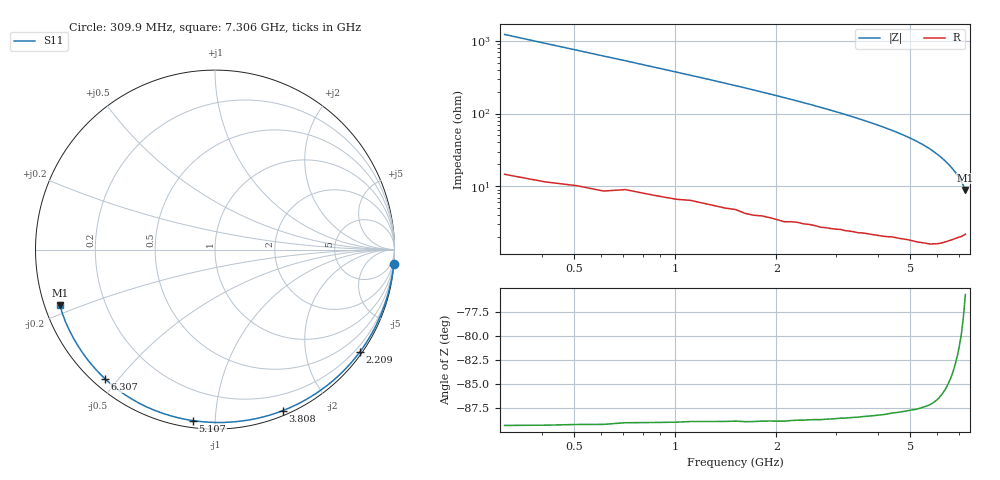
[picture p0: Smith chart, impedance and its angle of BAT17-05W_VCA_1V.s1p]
! Infineon Technologies  Discrete & RF Semiconductors
! BAT17-05W
! VCA = 1 V
! One-Port S-Parameters
# Hz  S  MA  R  50
!f  S11
!Hz  Mag  Ang
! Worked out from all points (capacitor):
!   71 points, 309.9 MHz to 7.306 GHz, reference 50 ohm
!   read as one part to ground: C = 422 fF near 309.9 MHz
!   lowest |Z| = 8.92 ohm at 7.306 GHz (marker M1)
!   S11 on the Smith chart (normalised r, x): 309.9 MHz: 0, -24; 2.209 GHz: 0.07, -3.13; 3.808 GHz: 0.04, -1.50; 5.107 GHz: 0.04, -0.88; 6.307 GHz: 0.03, -0.46; 7.306 GHz: 0.04, -0.17
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3.0985e8  0.999 -4.7
7.0965e8  0.9968 -10.8
1.2094e9  0.994 -18.5
1.4093e9  0.9929 -21.7
1.70915e9  0.9915 -26.7
2.10895e9  0.9891 -33.7
2.2089e9  0.988 -35.4
2.6087e9  0.9848 -42.8
3.0085e9  0.9813 -50.6
3.30835e9  0.9784 -56.7
3.50825e9  0.9768 -60.8
3.8081e9  0.9734 -67.2
4.008e9  0.9714 -71.6
4.2079e9  0.9694 -76.1
4.50775e9  0.9658 -82.9
4.70765e9  0.9641 -87.7
4.90755e9  0.9621 -92.5
5.10745e9  0.9606 -97.4
5.30735e9  0.9593 -102.5
5.6072e9  0.9566 -110.5
5.8071e9  0.9546 -116.0
6.007e9  0.9517 -121.7
6.30685e9  0.9454 -130.4
6.50675e9  0.9405 -136.3
6.70665e9  0.9355 -142.2
6.90655e9  0.9302 -148.2
7.10645e9  0.9252 -154.2
7.30635e9  0.918 -160.3
